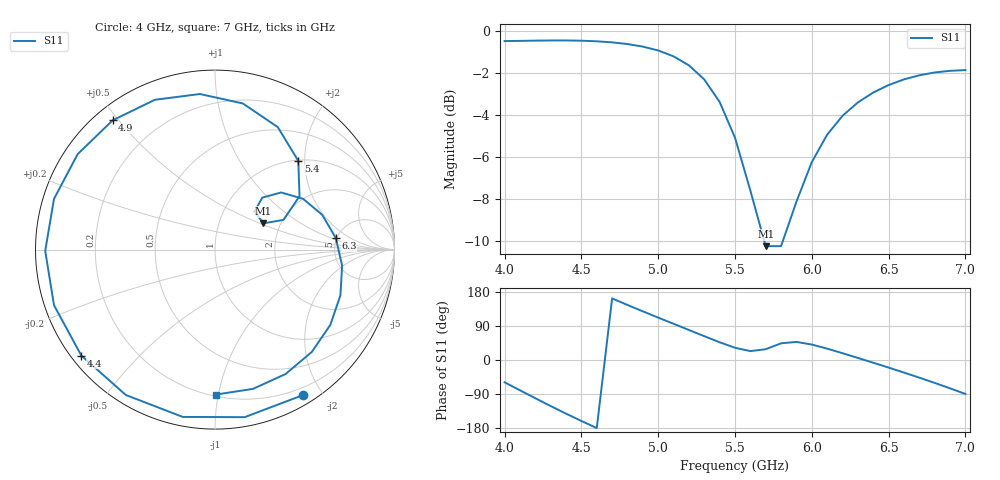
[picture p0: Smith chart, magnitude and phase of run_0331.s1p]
! Touchstone file exported from HFSS 2024.2.0
!  File:  C:/Users/wsak9/Desktop/Sim Fast/Widenad Patch/WP_AI_V1_sweep.aedt
!  Generated:  05:01:20 AM Oct 14, 2026
!  Design:  A1_model
!  Project:  WP_AI_V1_sweep
!  Setup:  Setup1
!  Solution:  Sweep
! Variables:
!  Air_gap = 4.17mm
!  Curve_Amp1 = 1.42
!  Curve_len1 = 1
!  Curve_pos = 10.315mm
!  Extra = 1.41mm
!  H_sub = 0.79mm
!  L_Patch = 16.63mm
!  L_Patch1 = 11.42mm
!  Sx = 3.11mm
!  Sy = 1.17mm
!  WS = 0.92mm
!  W_Patch = 17.55mm
!  W_Patch1 = 10.01mm
!Data is not renormalized
# GHz S MA
! Terminal data exported
! Port[1] = 1
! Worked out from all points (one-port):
!   31 points, 4 GHz to 7 GHz, reference per port
!   lowest |S11| = -10.3 dB at 5.7 GHz (marker M1), VSWR 1.89
!   |S11| at or under -10 dB: 5.69 GHz to 5.812 GHz (122 MHz wide, 2.12 % of centre)
!   S11 on the Smith chart (normalised r, x): 4 GHz: 0.11, -1.77; 4.4 GHz: 0.03, -0.35; 4.9 GHz: 0.05, +0.48; 5.4 GHz: 1.02, +1.86; 6.3 GHz: 4.89, +1.16; 7 GHz: 0.21, -0.98
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4  0.9471 -58.9
4.1  0.9481 -80.0
4.2  0.9494 -100.9
4.3  0.9503 -121.5
4.4  0.9504 -141.6
4.5  0.9491 -160.9
4.6  0.946 -179.6
4.7  0.9405 162.5
4.8  0.9318 145.2
4.9  0.9188 128.4
5  0.8994 111.9
5.1  0.8709 95.5
5.2  0.8289 79.2
5.3  0.767 62.9
5.4  0.6778 46.8
5.5  0.5571 32.3
5.6  0.4165 23.4
5.7  0.3069 28.5
5.8  0.3069 44.0
5.9  0.3919 47.7
6  0.487 40.8
6.1  0.5663 30.0
6.3  0.6761 5.5
6.5  0.7439 -20.1
6.6  0.7673 -33.2
6.7  0.7849 -46.6
6.9  0.8043 -74.7
7  0.8076 -89.6
